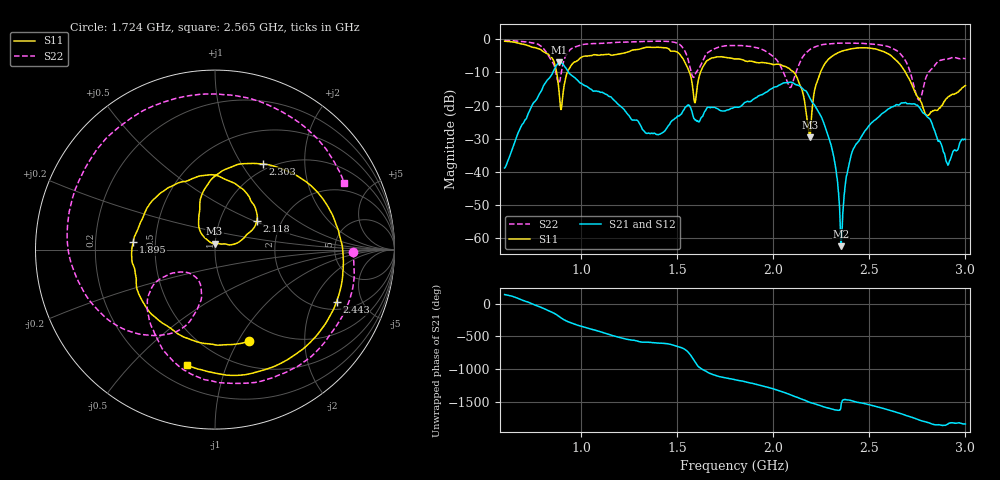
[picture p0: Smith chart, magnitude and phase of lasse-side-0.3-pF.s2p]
#  HZ  S  RI  R  50.00
! Rohde & Schwarz ZVB8 2Ports - Version 2.81 - 1145.1010k08 SN: 100113
! Date: 2016-03-31 04:34:29
! Measurements: S11 S21 S12 S22
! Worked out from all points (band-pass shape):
!   1000 points, 600 MHz to 3 GHz, reference 50 ohm
!   highest |S21| = -6.98 dB at 885.9 MHz (marker M1); lowest = -62.4 dB at 2.351 GHz (marker M2)
!   |S21| within 3 dB of the highest: 851.8 MHz to 932.8 MHz (81.03 MHz wide, 9.08 % of centre)
!   lowest |S11| = -29.6 dB at 2.19 GHz (marker M3), VSWR 1.07, Z = 49.6 + j3.29 ohm
!   |S11| at or under -10 dB: 1.563 GHz to 1.62 GHz (57.35 MHz wide, 3.6 % of centre); 2.107 GHz to 2.245 GHz (138.7 MHz wide, 6.37 % of centre); 2.688 GHz to end of sweep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
!   |S22| runs from -18.3 to -0.4 dB; largest |S21 - S12| = 0.0016
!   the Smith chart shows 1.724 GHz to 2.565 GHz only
!   S11 on the Smith chart (normalised r, x): 1.724 GHz: 0.77, -1.11; 1.895 GHz: 0.37, +0.04; 2.118 GHz: 1.50, +0.52; 2.303 GHz: 0.91, +1.24; 2.443 GHz: 2.41, -3.08; 2.565 GHz: 0.32, -0.73
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6e8  0.0388 0.928  -0.00826 0.00795  -0.00826 0.00796  -0.1034 0.9483
7.585586e8  0.7388 0.0816  0.1054 -0.0471  0.1048 -0.047  0.8346 0.2293
8.858859e8  0.03 -0.1335  -0.4179 0.1603  -0.4177 0.1599  0.2241 -0.0098
1.001201e9  0.3069 -0.4375  0.2087 0.0479  0.2082 0.0483  0.4802 -0.6691
1.215015e9  -0.6112 -0.00545  -0.0891 -0.0205  -0.089 -0.0205  -0.8898 -0.1291
1.4e9  0.2667 0.7057  -0.018 0.0316  -0.018 0.0315  -0.0718 0.9267
1.512913e9  0.5821 -0.0872  0.0388 0.0599  0.0388 0.0598  0.727 0.3909
1.592192e9  0.1084 -0.0187  -0.0586 -0.015  -0.0586 -0.015  0.2434 0.1629
1.724324e9  0.1911 -0.5073  0.07 -0.0457  0.0699 -0.0456  0.7696 -0.0129
1.801201e9  -0.2711 -0.422  0.0195 -0.0923  0.0194 -0.0923  0.6472 -0.4654
1.894895e9  -0.4558 0.0432  -0.0874 -0.0883  -0.0867 -0.0887  0.1449 -0.7453
2.118318e9  0.2318 0.159  0.1905 0.0762  0.1902 0.0765  -0.0886 -0.3079
2.19039e9  -0.00254 0.0331  0.0629 -0.1125  0.063 -0.1122  -0.5595 -0.4153
2.2e9  -0.0497 0.0595  0.0408 -0.1068  0.0409 -0.1066  -0.6281 -0.3615
2.303303e9  0.2652 0.4771  -0.0222 -0.0077  -0.0221 -0.00771  -0.7352 0.4306
2.351351e9  0.5585 0.3329  -0.000592 -0.000479  -0.000556 -0.000493  -0.5077 0.7033
2.442643e9  0.677 -0.2913  0.014 -0.0253  0.014 -0.0252  0.1002 0.8593
2.565165e9  -0.1583 -0.6423  -0.0624 -0.0422  -0.0621 -0.0424  0.7201 0.3726
2.601201e9  -0.3982 -0.4409  -0.0894 -0.00655  -0.0895 -0.00703  0.7587 0.1146
2.757357e9  0.0303 0.1249  0.0796 0.0531  0.0795 0.0532  0.1168 -0.0324
2.908709e9  -0.1147 -0.0689  0.0109 -0.0063  0.011 -0.00623  0.4501 -0.222
3e9  -0.1502 0.1314  0.0269 -0.0152  0.027 -0.0152  0.2402 -0.4439
